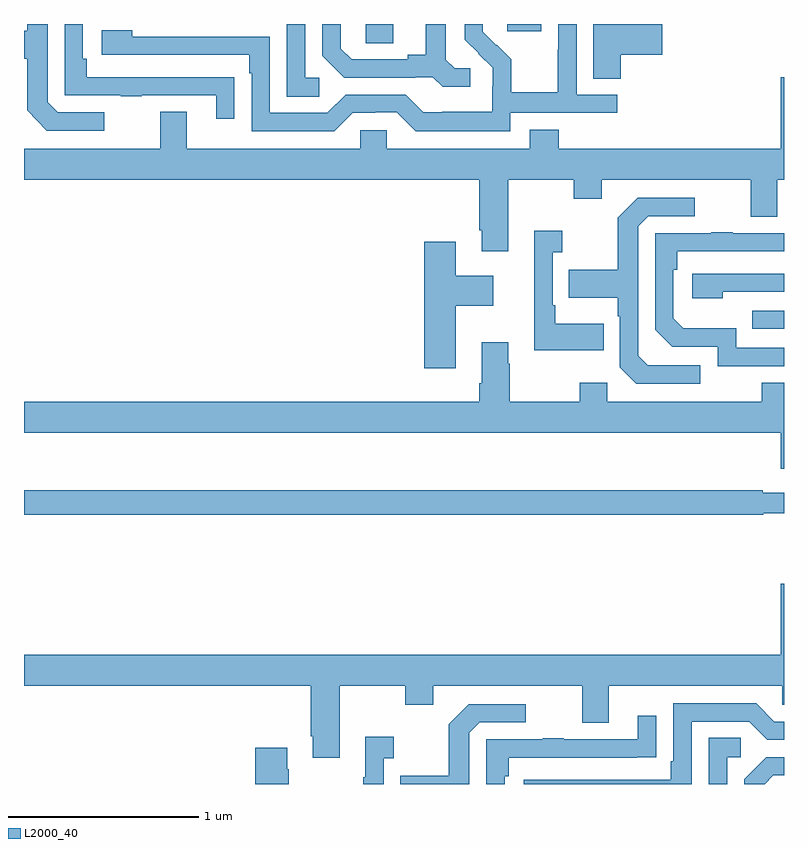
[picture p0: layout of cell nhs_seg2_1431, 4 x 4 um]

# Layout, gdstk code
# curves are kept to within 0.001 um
import gdstk
lib = gdstk.Library(unit=1e-6, precision=1e-09)
def R(c, l, rs):  # rectangles x0, y0, x1, y1
    for r in rs: c.add(gdstk.rectangle(r[:2], r[2:], *l))
def P(c, l, *ps):  # polygons
    for p in ps: c.add(gdstk.Polygon(p, *l))
L2000_40 = (2000, 40)

nhs_seg2_1431 = lib.new_cell('nhs_seg2_1431')
R(nhs_seg2_1431, L2000_40, [(188.833,636.195,189,636.291), (186.798,637.699,186.943,637.8), (187.544,637.761,187.723,637.8)])
P(nhs_seg2_1431, L2000_40, [(187.56,637.332),(188.122,637.332),(188.122,637.428),(187.908,637.428),(187.908,637.8),(187.812,637.8),(187.812,637.664),(187.81,637.664),(187.81,637.441),(187.565,637.441),(187.565,637.615),(187.488,637.692),(187.485,637.689),(187.415,637.76),(187.415,637.8),(187.32,637.8),(187.32,637.718),(187.466,637.57),(187.466,637.473),(187.464,637.473),(187.464,637.339),(187.201,637.339),(187.201,637.335),(187.101,637.335),(187.008,637.428),(186.693,637.428),(186.597,637.332),(186.294,637.332),(186.294,637.734),(185.57,637.734),(185.57,637.768),(185.409,637.768),(185.409,637.638),(186.185,637.638),(186.185,637.541),(186.198,637.541),(186.198,637.236),(186.633,637.236),(186.729,637.332),(186.848,637.332),(186.848,637.335),(186.963,637.335),(187.063,637.235),(187.56,637.235)],
  [(185.422,637.335),(185.178,637.335),(185.124,637.389),(185.124,637.8),(185.016,637.8),(185.016,637.765),(185,637.765),(185,637.618),(185.016,637.618),(185.016,637.345),(185.121,637.239),(185.422,637.239)],
  [(186.553,637.518),(186.48,637.518),(186.48,637.8),(186.384,637.8),(186.384,637.417),(186.553,637.417)],
  [(188.141,637.637),(188.359,637.637),(188.359,637.8),(187.997,637.8),(187.997,637.513),(188.141,637.513)],
  [(186.107,637.52),(186.005,637.52),(186.005,637.521),(185.33,637.521),(185.33,637.618),(185.31,637.618),(185.31,637.8),(185.214,637.8),(185.214,637.425),(185.509,637.425),(185.509,637.42),(185.621,637.42),(185.621,637.425),(186.011,637.425),(186.011,637.302),(186.107,637.302)],
  [(187.348,637.566),(187.266,637.566),(187.219,637.613),(187.219,637.8),(187.115,637.8),(187.115,637.637),(187.019,637.637),(187.019,637.614),(186.724,637.614),(186.667,637.671),(186.667,637.8),(186.57,637.8),(186.57,637.634),(186.686,637.518),(187.058,637.518),(187.058,637.521),(187.152,637.521),(187.204,637.469),(187.348,637.469)],
  [(187.549,636.98),(187.894,636.98),(187.894,636.881),(188.041,636.881),(188.041,636.98),(188.825,636.98),(188.825,636.786),(188.965,636.786),(188.965,636.98),(189,636.98),(189,637.519),(188.984,637.519),(188.984,637.144),(187.814,637.144),(187.814,637.243),(187.661,637.243),(187.661,637.144),(186.909,637.144),(186.909,637.242),(186.771,637.242),(186.771,637.144),(185.857,637.144),(185.857,637.339),(185.717,637.339),(185.717,637.144),(185,637.144),(185,636.98),(187.397,636.98),(187.397,636.715),(187.409,636.715),(187.409,636.603),(187.549,636.603)],
  [(188.56,636.003),(188.283,636.003),(188.232,636.054),(188.232,636.735),(188.286,636.789),(188.53,636.789),(188.53,636.885),(188.229,636.885),(188.124,636.779),(188.124,636.507),(187.867,636.507),(187.867,636.359),(188.124,636.359),(188.124,636.263),(188.136,636.263),(188.136,635.994),(188.223,635.907),(188.56,635.907)],
  [(188.051,636.223),(187.795,636.223),(187.795,636.319),(187.782,636.319),(187.782,636.599),(187.834,636.599),(187.834,636.712),(187.685,636.712),(187.685,636.083),(188.051,636.083)],
  [(189,636.096),(188.748,636.096),(188.748,636.199),(188.471,636.199),(188.418,636.252),(188.418,636.506),(188.438,636.506),(188.438,636.603),(189,636.603),(189,636.699),(188.729,636.699),(188.729,636.704),(188.617,636.704),(188.617,636.699),(188.322,636.699),(188.322,636.192),(188.412,636.102),(188.652,636.102),(188.652,636),(189,636)],
  [(187.273,636.317),(187.471,636.317),(187.471,636.475),(187.273,636.475),(187.273,636.655),(187.106,636.655),(187.106,635.988),(187.273,635.988)],
  [(188.678,636.39),(189,636.39),(189,636.486),(188.517,636.486),(188.517,636.356),(188.678,636.356)],
  [(189,635.911),(188.884,635.911),(188.884,635.812),(188.07,635.812),(188.07,635.911),(187.924,635.911),(187.924,635.812),(187.557,635.812),(187.557,636.011),(187.549,636.011),(187.549,636.124),(187.409,636.124),(187.409,635.908),(187.397,635.908),(187.397,635.812),(185,635.812),(185,635.648),(188.984,635.648),(188.984,635.46),(189,635.46)],
  [(188.89,635.226),(189,635.226),(189,635.334),(188.888,635.334),(188.888,635.347),(185,635.347),(185,635.218),(188.89,635.218)],
  [(186.661,634.316),(187.006,634.316),(187.006,634.217),(187.153,634.217),(187.153,634.316),(187.937,634.316),(187.937,634.122),(188.077,634.122),(188.077,634.316),(188.991,634.316),(188.991,634.218),(189,634.218),(189,634.855),(188.984,634.855),(188.984,634.48),(185,634.48),(185,634.316),(186.509,634.316),(186.509,634.051),(186.521,634.051),(186.521,633.939),(186.661,633.939)],
  [(188.514,634.128),(188.817,634.128),(188.913,634.032),(189,634.032),(189,634.128),(188.949,634.128),(188.853,634.224),(188.418,634.224),(188.418,633.919),(188.405,633.919),(188.405,633.822),(187.629,633.822),(187.629,633.8),(188.514,633.8)],
  [(187.344,634.071),(187.398,634.125),(187.642,634.125),(187.642,634.221),(187.341,634.221),(187.236,634.115),(187.236,633.843),(186.979,633.843),(186.979,633.8),(187.344,633.8)],
  [(187.53,633.842),(187.55,633.842),(187.55,633.939),(188.225,633.939),(188.225,633.94),(188.327,633.94),(188.327,634.159),(188.231,634.159),(188.231,634.035),(187.841,634.035),(187.841,634.04),(187.729,634.04),(187.729,634.035),(187.434,634.035),(187.434,633.8),(187.53,633.8)],
  [(186.894,633.935),(186.946,633.935),(186.946,634.048),(186.797,634.048),(186.797,633.835),(186.786,633.835),(186.786,633.8),(186.894,633.8)],
  [(188.7,633.942),(188.773,633.942),(188.773,634.043),(188.604,634.043),(188.604,633.8),(188.7,633.8)],
  [(186.393,633.878),(186.385,633.878),(186.385,633.991),(186.218,633.991),(186.218,633.8),(186.393,633.8)],
  [(188.944,633.846),(189,633.846),(189,633.942),(188.906,633.942),(188.79,633.826),(188.79,633.8),(188.898,633.8)])

lib.write_gds('nhs_seg2_1431.gds')
